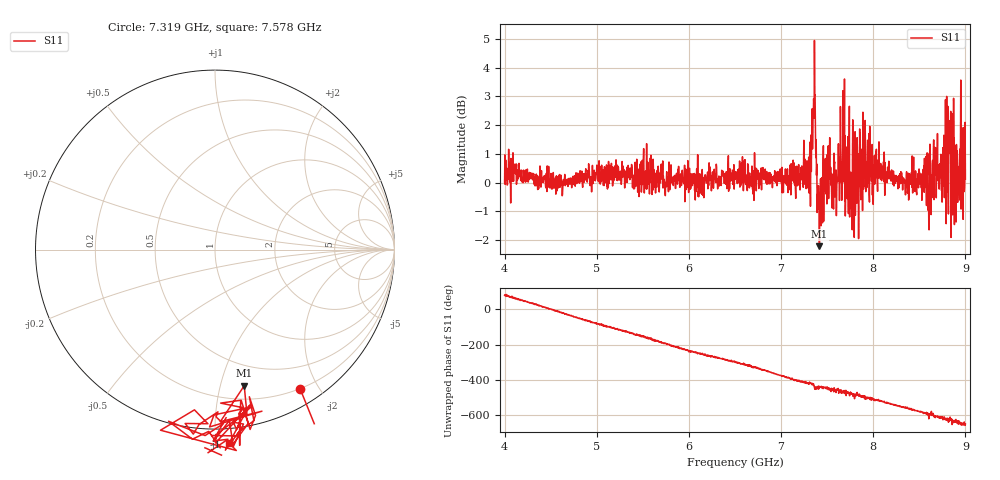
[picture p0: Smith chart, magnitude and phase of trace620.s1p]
! Created with skrf 1.8.0 (http://scikit-rf.org).
# Hz S RI R 50.0
!freq ReS11 ImS11
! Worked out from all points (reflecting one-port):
!   1601 points, 4 GHz to 9 GHz, reference 50 ohm
!   lowest |S11| = -2.2 dB at 7.416 GHz (marker M1), VSWR 7.92, Z = 15.6 - j59.4 ohm
!   phase of S11 starts at 79 deg and turns -728 deg over the sweep
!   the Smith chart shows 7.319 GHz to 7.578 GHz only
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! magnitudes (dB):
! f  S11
! 4 GHz  0.0
! 4.094 GHz  0.6
! 4.625 GHz  -0.5
! 5.25 GHz  0.2
! 5.875 GHz  0.0
! 6.5 GHz  0.1
! 7.125 GHz  0.4
! 7.294 GHz  -0.2
! 7.356 GHz  2.8
! 7.388 GHz  0.6
! 7.4 GHz  -0.9
! 7.416 GHz  -2.2
! 7.509 GHz  0.3
! 7.609 GHz  0.1
! 7.662 GHz  0.4
! 7.75 GHz  -0.7
! 7.769 GHz  -0.5
! 7.928 GHz  0.7
! 7.981 GHz  0.0
! 8.375 GHz  -0.1
! 8.566 GHz  0.8
! 8.622 GHz  -0.4
! 8.656 GHz  1.5
! 8.738 GHz  0.6
! 8.816 GHz  -1.1
! 8.869 GHz  -0.7
! 8.959 GHz  1.9
! 9 GHz  0.1
